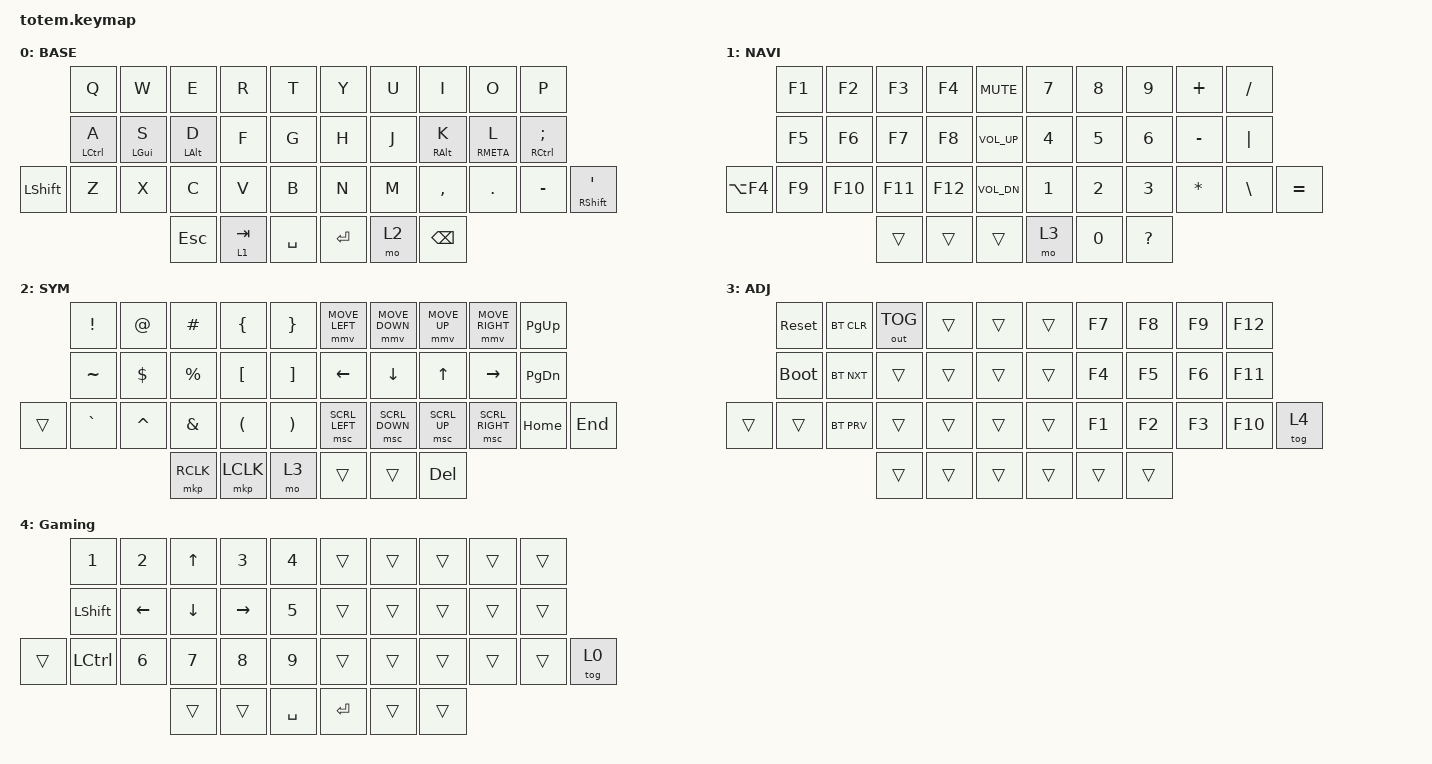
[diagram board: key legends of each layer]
//
//                                                        ▀▀▀▀▀     ▀▀▀▀▀          ▀▀█▀▀
//                                                        ▄▀▀▀▄  ▄  ▄▀▀▀▄  ▄  ▄▀▀▀▄  █  ▄▀▀▀▄
//                                                        █   █  █  █   █  █  █   █  █  █   █
//                                                         ▀▀▀   █   ▀▀▀   █   ▀▀▀   ▀   ▀▀▀
//                                                               █      ▄▄▄█▄▄▄    █   █  
//                                                               ▀      █  █  █     █▄█
//                                                             ▀▀▀▀▀    █  █  █      ▀
//                                                                      ▀  ▀  ▀
//
// ▄▄▄▄▄▄▄▄▄▄▄▄▄▄▄▄▄▄▄▄▄▄▄▄▄▄▄▄▄▄▄▄▄▄▄▄▄▄▄▄▄▄▄▄▄▄▄▄▄▄▄▄▄▄▄▄▄▄▄▄▄▄▄▄▄▄▄▄▄▄▄▄▄▄▄▄▄▄▄▄▄▄▄▄▄▄▄▄▄▄▄▄▄▄▄▄▄▄▄▄▄▄▄▄▄▄▄▄▄▄▄▄▄▄▄▄▄▄▄▄▄▄▄▄▄▄▄▄▄▄▄▄▄▄▄▄▄▄▄▄▄▄▄▄▄▄▄▄▄

#include <behaviors.dtsi>
#include <dt-bindings/zmk/bt.h>
#include <dt-bindings/zmk/keys.h>
#include <dt-bindings/zmk/outputs.h>
#include <dt-bindings/zmk/pointing.h>

#define BASE 0
#define NAV  1
#define SYM  2
#define ADJ  3
#define TVP1 4
#define TVP2 5

&mt {
    quick-tap-ms = <170>;
    global-quick-tap;
    flavor = "tap-preferred";
    tapping-term-ms = <220>;
};

/ {
    combos { compatible = "zmk,combos"; };

    keymap {
        compatible = "zmk,keymap";

        // ▄▄▄▄▄▄▄▄▄▄▄▄▄▄▄▄▄▄▄▄▄▄▄▄▄▄▄▄▄▄▄▄▄▄▄▄▄▄▄▄▄▄▄▄▄▄▄▄▄▄▄▄▄▄▄▄▄▄▄▄▄▄▄▄▄▄▄▄▄▄▄▄▄▄▄▄▄▄▄▄▄▄▄▄▄▄▄▄▄▄▄▄▄▄▄▄▄▄▄▄▄▄▄▄▄▄▄▄▄▄▄▄▄▄▄▄▄▄▄▄▄▄▄▄▄▄▄▄▄▄▄▄▄▄▄▄▄▄▄▄▄▄▄▄▄▄▄▄▄

        base_layer {
            // ┏━━━━━━━━━━━━━━━━━━━━━━━━━━━━━━━━━━━━━━━┓

            label = "BASE";

            // ┗━━━━━━━━━━━━━━━━━━━━━━━━━━━━━━━━━━━━━━━┛
            //             ┏━━━━━━━━━━━┳━━━━━━━━━━━┳━━━━━━━━━━━┳━━━━━━━━━━━┳━━━━━━━━━━━┓   ┏━━━━━━━━━━━┳━━━━━━━━━━━┳━━━━━━━━━━━┳━━━━━━━━━━━┳━━━━━━━━━━━┓
            //             ┃     Q     ┃     W     ┃     F     ┃     P     ┃     G     ┃   ┃     J     ┃     L     ┃     U     ┃     Y     ┃     ;     ┃
            //             ┣━━━━━━━━━━━╋━━━━━━━━━━━╋━━━━━━━━━━━╋━━━━━━━━━━━╋━━━━━━━━━━━┫   ┣━━━━━━━━━━━╋━━━━━━━━━━━╋━━━━━━━━━━━╋━━━━━━━━━━━╋━━━━━━━━━━━┫
            //             ┃     A     ┃     R     ┃     S     ┃     T     ┃     D     ┃   ┃     H     ┃     N     ┃     E     ┃     I     ┃     O     ┃
            // ┏━━━━━━━━━━━╋━━━━━━━━━━━╋━━━━━━━━━━━╋━━━━━━━━━━━╋━━━━━━━━━━━╋━━━━━━━━━━━┫   ┣━━━━━━━━━━━╋━━━━━━━━━━━╋━━━━━━━━━━━╋━━━━━━━━━━━╋━━━━━━━━━━━╋━━━━━━━━━━━┓
            // ┃     Q     ┃     Z     ┃     X     ┃     C     ┃     V     ┃     B     ┃   ┃     K     ┃     M     ┃     ,     ┃     .     ┃     /     ┃     \     ┃
            // ┗━━━━━━━━━━━┻━━━━━━━━━━━┻━━━━━━━━━━━╋━━━━━━━━━━━╋━━━━━━━━━━━╋━━━━━━━━━━━┫   ┣━━━━━━━━━━━╋━━━━━━━━━━━╋━━━━━━━━━━━╋━━━━━━━━━━━┻━━━━━━━━━━━┻━━━━━━━━━━━┛
            //                                     ┃    DEL    ┃    TAB    ┃    SPC    ┃   ┃   ENTER   ┃           ┃   BSPC    ┃
            //                                     ┗━━━━━━━━━━━┻━━━━━━━━━━━┻━━━━━━━━━━━┛   ┗━━━━━━━━━━━┻━━━━━━━━━━━┻━━━━━━━━━━━┛

            bindings = <
                &kp Q        &kp W       &kp E       &kp R      &kp T        &kp Y    &kp U  &kp I            &kp O        &kp P
                &mt LCTRL A  &mt LGUI S  &mt LALT D  &kp F      &kp G        &kp H    &kp J  &mt RIGHT_ALT K  &mt RMETA L  &mt RCTRL SEMI
&kp LEFT_SHIFT  &kp Z        &kp X       &kp C       &kp V      &kp B        &kp N    &kp M  &kp COMMA        &kp DOT      &kp MINUS       &mt RIGHT_SHIFT SQT
                                         &kp ESCAPE  &lt 1 TAB  &kp SPACE    &kp RET  &mo 2  &kp BSPC
            >;
        };

        // ▄▄▄▄▄▄▄▄▄▄▄▄▄▄▄▄▄▄▄▄▄▄▄▄▄▄▄▄▄▄▄▄▄▄▄▄▄▄▄▄▄▄▄▄▄▄▄▄▄▄▄▄▄▄▄▄▄▄▄▄▄▄▄▄▄▄▄▄▄▄▄▄▄▄▄▄▄▄▄▄▄▄▄▄▄▄▄▄▄▄▄▄▄▄▄▄▄▄▄▄▄▄▄▄▄▄▄▄▄▄▄▄▄▄▄▄▄▄▄▄▄▄▄▄▄▄▄▄▄▄▄▄▄▄▄▄▄▄▄▄▄▄▄▄▄▄▄▄▄

        num_layer {
            // ┏━━━━━━━━━━━━━━━━━━━━━━━━━━━━━━━━━━━━━━━┓

            label = "NAVI";

            // ┗━━━━━━━━━━━━━━━━━━━━━━━━━━━━━━━━━━━━━━━┛
            //             ┏━━━━━━━━━━━┳━━━━━━━━━━━┳━━━━━━━━━━━┳━━━━━━━━━━━┳━━━━━━━━━━━┓   ┏━━━━━━━━━━━┳━━━━━━━━━━━┳━━━━━━━━━━━┳━━━━━━━━━━━┳━━━━━━━━━━━┓
            //             ┃           ┃           ┃     UP    ┃           ┃     {     ┃   ┃     }     ┃     7     ┃     8     ┃     9     ┃     +     ┃
            //             ┣━━━━━━━━━━━╋━━━━━━━━━━━╋━━━━━━━━━━━╋━━━━━━━━━━━╋━━━━━━━━━━━┫   ┣━━━━━━━━━━━╋━━━━━━━━━━━╋━━━━━━━━━━━╋━━━━━━━━━━━╋━━━━━━━━━━━┫
            //             ┃   SHIFT   ┃   LEFT    ┃    DOWN   ┃   RIGHT   ┃     [     ┃   ┃     ]     ┃     4     ┃     5     ┃     6     ┃     -     ┃
            // ┏━━━━━━━━━━━╋━━━━━━━━━━━╋━━━━━━━━━━━╋━━━━━━━━━━━╋━━━━━━━━━━━╋━━━━━━━━━━━┫   ┣━━━━━━━━━━━╋━━━━━━━━━━━╋━━━━━━━━━━━╋━━━━━━━━━━━╋━━━━━━━━━━━╋━━━━━━━━━━━┓
            // ┃           ┃           ┃   P UP    ┃  C LOCK   ┃  P DOWN   ┃     (     ┃   ┃     )     ┃     1     ┃     2     ┃     3     ┃     *     ┃           ┃
            // ┗━━━━━━━━━━━┻━━━━━━━━━━━┻━━━━━━━━━━━╋━━━━━━━━━━━╋━━━━━━━━━━━╋━━━━━━━━━━━┫   ┣━━━━━━━━━━━╋━━━━━━━━━━━╋━━━━━━━━━━━╋━━━━━━━━━━━┻━━━━━━━━━━━┻━━━━━━━━━━━┛
            //                                     ┃           ┃    TAB    ┃    SPC    ┃   ┃    DEL    ┃     0     ┃           ┃
            //                                     ┗━━━━━━━━━━━┻━━━━━━━━━━━┻━━━━━━━━━━━┛   ┗━━━━━━━━━━━┻━━━━━━━━━━━┻━━━━━━━━━━━┛

            bindings = <
            &kp F1  &kp F2   &kp F3   &kp F4   &kp C_MUTE      &kp N7  &kp N8  &kp N9        &kp PLUS   &kp SLASH
            &kp F5  &kp F6   &kp F7   &kp F8   &kp C_VOL_UP    &kp N4  &kp N5  &kp N6        &kp MINUS  &kp PIPE
&kp LA(F4)  &kp F9  &kp F10  &kp F11  &kp F12  &kp C_VOL_DN    &kp N1  &kp N2  &kp N3        &kp STAR   &kp BACKSLASH  &kp EQUAL
                             &trans   &trans   &trans          &mo 3   &kp N0  &kp QUESTION
            >;
        };

        // ▄▄▄▄▄▄▄▄▄▄▄▄▄▄▄▄▄▄▄▄▄▄▄▄▄▄▄▄▄▄▄▄▄▄▄▄▄▄▄▄▄▄▄▄▄▄▄▄▄▄▄▄▄▄▄▄▄▄▄▄▄▄▄▄▄▄▄▄▄▄▄▄▄▄▄▄▄▄▄▄▄▄▄▄▄▄▄▄▄▄▄▄▄▄▄▄▄▄▄▄▄▄▄▄▄▄▄▄▄▄▄▄▄▄▄▄▄▄▄▄▄▄▄▄▄▄▄▄▄▄▄▄▄▄▄▄▄▄▄▄▄▄▄▄▄▄▄▄▄

        sim_layer {
            // ┏━━━━━━━━━━━━━━━━━━━━━━━━━━━━━━━━━━━━━━━┓

            label = "SYM";

            // ┗━━━━━━━━━━━━━━━━━━━━━━━━━━━━━━━━━━━━━━━┛
            //             ┏━━━━━━━━━━━┳━━━━━━━━━━━┳━━━━━━━━━━━┳━━━━━━━━━━━┳━━━━━━━━━━━┓   ┏━━━━━━━━━━━┳━━━━━━━━━━━┳━━━━━━━━━━━┳━━━━━━━━━━━┳━━━━━━━━━━━┓
            //             ┃     !     ┃     @     ┃     #     ┃     $     ┃     %     ┃   ┃     ˆ     ┃     &     ┃     Ü     ┃     '     ┃     "     ┃
            //             ┣━━━━━━━━━━━╋━━━━━━━━━━━╋━━━━━━━━━━━╋━━━━━━━━━━━╋━━━━━━━━━━━┫   ┣━━━━━━━━━━━╋━━━━━━━━━━━╋━━━━━━━━━━━╋━━━━━━━━━━━╋━━━━━━━━━━━┫
            //             ┃     Ä     ┃           ┃    SZ     ┃           ┃           ┃   ┃   MUTE    ┃   YEN     ┃   EURO    ┃  POUND    ┃     Ö     ┃
            // ┏━━━━━━━━━━━╋━━━━━━━━━━━╋━━━━━━━━━━━╋━━━━━━━━━━━╋━━━━━━━━━━━╋━━━━━━━━━━━┫   ┣━━━━━━━━━━━╋━━━━━━━━━━━╋━━━━━━━━━━━╋━━━━━━━━━━━╋━━━━━━━━━━━╋━━━━━━━━━━━┓
            // ┃           ┃  EMAIL1   ┃  EMAIL2   ┃           ┃           ┃           ┃   ┃   VOL-    ┃   VOL+    ┃   LAST    ┃   NEXT    ┃     \     ┃           ┃
            // ┗━━━━━━━━━━━┻━━━━━━━━━━━┻━━━━━━━━━━━╋━━━━━━━━━━━╋━━━━━━━━━━━╋━━━━━━━━━━━┫   ┣━━━━━━━━━━━╋━━━━━━━━━━━╋━━━━━━━━━━━╋━━━━━━━━━━━┻━━━━━━━━━━━┻━━━━━━━━━━━┛
            //                                     ┃           ┃    GIF    ┃    ADJ    ┃   ┃           ┃           ┃           ┃
            //                                     ┗━━━━━━━━━━━┻━━━━━━━━━━━┻━━━━━━━━━━━┛   ┗━━━━━━━━━━━┻━━━━━━━━━━━┻━━━━━━━━━━━┛

            bindings = <
        &kp EXCL   &kp AT      &kp HASH     &kp LBRC   &kp RBRC    &mmv MOVE_LEFT  &mmv MOVE_DOWN  &mmv MOVE_UP  &mmv MOVE_RIGHT  &kp PG_UP
        &kp TILDE  &kp DOLLAR  &kp PERCENT  &kp LBKT   &kp RBKT    &kp LEFT        &kp DOWN        &kp UP        &kp RIGHT        &kp PG_DN
&trans  &kp GRAVE  &kp CARET   &kp AMPS     &kp LPAR   &kp RPAR    &msc SCRL_LEFT  &msc SCRL_DOWN  &msc SCRL_UP  &msc SCRL_RIGHT  &kp HOME   &kp END
                               &mkp RCLK    &mkp LCLK  &mo 3       &trans          &trans          &kp DELETE
            >;
        };

        // ▄▄▄▄▄▄▄▄▄▄▄▄▄▄▄▄▄▄▄▄▄▄▄▄▄▄▄▄▄▄▄▄▄▄▄▄▄▄▄▄▄▄▄▄▄▄▄▄▄▄▄▄▄▄▄▄▄▄▄▄▄▄▄▄▄▄▄▄▄▄▄▄▄▄▄▄▄▄▄▄▄▄▄▄▄▄▄▄▄▄▄▄▄▄▄▄▄▄▄▄▄▄▄▄▄▄▄▄▄▄▄▄▄▄▄▄▄▄▄▄▄▄▄▄▄▄▄▄▄▄▄▄▄▄▄▄▄▄▄▄▄▄▄▄▄▄▄▄▄

        adjust_layer {
            // ┏━━━━━━━━━━━━━━━━━━━━━━━━━━━━━━━━━━━━━━━┓

            label = "ADJ";

            // ┗━━━━━━━━━━━━━━━━━━━━━━━━━━━━━━━━━━━━━━━┛
            //             ┏━━━━━━━━━━━┳━━━━━━━━━━━┳━━━━━━━━━━━┳━━━━━━━━━━━┳━━━━━━━━━━━┓   ┏━━━━━━━━━━━┳━━━━━━━━━━━┳━━━━━━━━━━━┳━━━━━━━━━━━┳━━━━━━━━━━━┓
            //             ┃   RESET   ┃ BT CLEAR  ┃  OUT TOG  ┃           ┃           ┃   ┃           ┃    F7     ┃    F8     ┃    F9     ┃    F12    ┃
            //             ┣━━━━━━━━━━━╋━━━━━━━━━━━╋━━━━━━━━━━━╋━━━━━━━━━━━╋━━━━━━━━━━━┫   ┣━━━━━━━━━━━╋━━━━━━━━━━━╋━━━━━━━━━━━╋━━━━━━━━━━━╋━━━━━━━━━━━┫
            //             ┃ BOOTLOAD  ┃ BT NEXT   ┃           ┃           ┃           ┃   ┃           ┃    F4     ┃    F5     ┃    F6     ┃    F11    ┃
            // ┏━━━━━━━━━━━╋━━━━━━━━━━━╋━━━━━━━━━━━╋━━━━━━━━━━━╋━━━━━━━━━━━╋━━━━━━━━━━━┫   ┣━━━━━━━━━━━╋━━━━━━━━━━━╋━━━━━━━━━━━╋━━━━━━━━━━━╋━━━━━━━━━━━╋━━━━━━━━━━━┓
            // ┃           ┃           ┃ BT PREV   ┃           ┃           ┃           ┃   ┃           ┃    F1     ┃    F2     ┃    F3     ┃    F10    ┃           ┃
            // ┗━━━━━━━━━━━┻━━━━━━━━━━━┻━━━━━━━━━━━╋━━━━━━━━━━━╋━━━━━━━━━━━╋━━━━━━━━━━━┫   ┣━━━━━━━━━━━╋━━━━━━━━━━━╋━━━━━━━━━━━╋━━━━━━━━━━━┻━━━━━━━━━━━┻━━━━━━━━━━━┛
            //                                     ┃           ┃           ┃           ┃   ┃           ┃           ┃           ┃
            //                                     ┗━━━━━━━━━━━┻━━━━━━━━━━━┻━━━━━━━━━━━┛   ┗━━━━━━━━━━━┻━━━━━━━━━━━┻━━━━━━━━━━━┛

            bindings = <
        &sys_reset   &bt BT_CLR  &out OUT_TOG  &trans  &trans    &trans  &kp F7  &kp F8  &kp F9  &kp F12
        &bootloader  &bt BT_NXT  &trans        &trans  &trans    &trans  &kp F4  &kp F5  &kp F6  &kp F11
&trans  &trans       &bt BT_PRV  &trans        &trans  &trans    &trans  &kp F1  &kp F2  &kp F3  &kp F10  &tog 4
                                 &trans        &trans  &trans    &trans  &trans  &trans
            >;
        };

        // ▄▄▄▄▄▄▄▄▄▄▄▄▄▄▄▄▄▄▄▄▄▄▄▄▄▄▄▄▄▄▄▄▄▄▄▄▄▄▄▄▄▄▄▄▄▄▄▄▄▄▄▄▄▄▄▄▄▄▄▄▄▄▄▄▄▄▄▄▄▄▄▄▄▄▄▄▄▄▄▄▄▄▄▄▄▄▄▄▄▄▄▄▄▄▄▄▄▄▄▄▄▄▄▄▄▄▄▄▄▄▄▄▄▄▄▄▄▄▄▄▄▄▄▄▄▄▄▄▄▄▄▄▄▄▄▄▄▄▄▄▄▄▄▄▄▄▄▄▄
        // ▄▄▄▄▄▄▄▄▄▄▄▄▄▄▄▄▄▄▄▄▄▄▄▄▄▄▄▄▄▄▄▄▄▄▄▄▄▄▄▄▄▄▄▄▄▄▄▄▄▄▄▄▄▄▄▄▄▄▄▄▄▄▄▄▄▄▄▄▄▄▄▄▄▄▄▄▄▄▄▄▄▄▄▄▄▄▄▄▄▄▄▄▄▄▄▄▄▄▄▄▄▄▄▄▄▄▄▄▄▄▄▄▄▄▄▄▄▄▄▄▄▄▄▄▄▄▄▄▄▄▄▄▄▄▄▄▄▄▄▄▄▄▄▄▄▄▄▄▄

        gaming {
            bindings = <
        &kp N1     &kp N2    &kp UP    &kp N3     &kp N4       &trans   &trans  &trans  &trans  &trans
        &kp LSHFT  &kp LEFT  &kp DOWN  &kp RIGHT  &kp N5       &trans   &trans  &trans  &trans  &trans
&trans  &kp LCTRL  &kp N6    &kp N7    &kp N8     &kp N9       &trans   &trans  &trans  &trans  &trans  &tog 0
                             &trans    &trans     &kp SPACE    &kp RET  &trans  &trans
            >;

            label = "Gaming";
        };
    };
};
